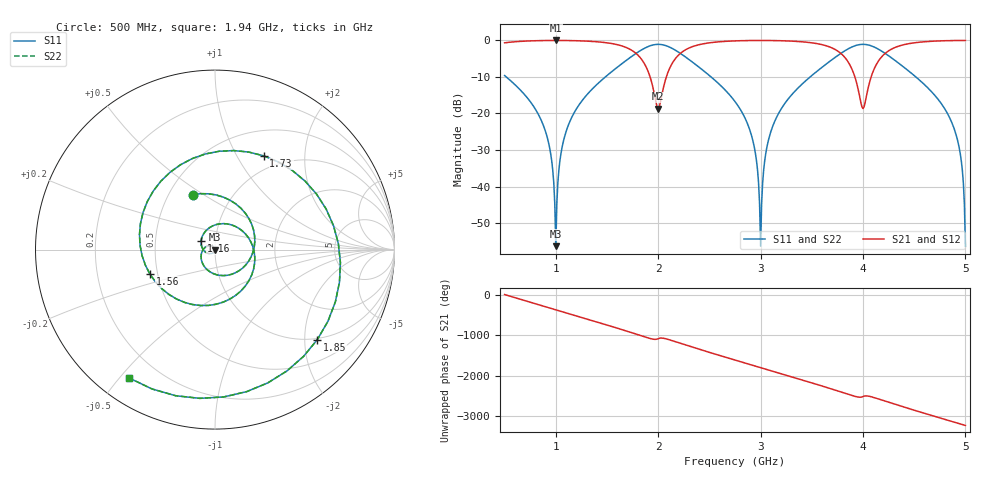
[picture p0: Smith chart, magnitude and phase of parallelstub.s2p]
! https://github.com/szoftveres
# Hz S RI R 50
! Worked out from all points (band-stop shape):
!   451 points, 500 MHz to 5 GHz, reference 50 ohm
!   highest |S21| = -0.01 dB at 1 GHz (marker M1); lowest = -18.7 dB at 2 GHz (marker M2)
!   |S21| within 3 dB of the highest: start of sweep to 1.758 GHz; 2.242 GHz to 3.758 GHz (1.517 GHz wide, 50.6 % of centre)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
!   lowest |S11| = -56.3 dB at 1 GHz (marker M3), VSWR 1.00, Z = 49.8 + j0 ohm
!   |S11| at or under -10 dB: 516.3 MHz to 1.484 GHz (967.3 MHz wide, 96.7 % of centre); 2.516 GHz to 3.484 GHz (967.3 MHz wide, 32.2 % of centre); 4.516 GHz to end of sweep
!   |S22| runs from -56.3 to -1.1 dB; largest |S21 - S12| = 0
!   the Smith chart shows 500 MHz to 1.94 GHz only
!   S11 on the Smith chart (normalised r, x): 500 MHz: 0.66, +0.45; 1.16 GHz: 0.85, +0.08; 1.56 GHz: 0.45, -0.15; 1.73 GHz: 0.81, +1.30; 1.85 GHz: 0.97, -2.30; 1.94 GHz: 0.10, -0.53
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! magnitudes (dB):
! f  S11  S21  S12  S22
! 500 MHz  -9.6  -0.7  -0.7  -9.6
! 870 MHz  -22.7  0.0  0.0  -22.7
! 1 GHz  -56.3  0.0  0.0  -56.3
! 1.16 GHz  -20.8  -0.1  -0.1  -20.8
! 1.25 GHz  -16.7  -0.1  -0.1  -16.7
! 1.56 GHz  -8.2  -0.9  -0.9  -8.2
! 1.73 GHz  -4.6  -2.5  -2.5  -4.6
! 1.85 GHz  -2.4  -5.7  -5.7  -2.4
! 1.94 GHz  -1.3  -11.9  -11.9  -1.3
! 2 GHz  -1.1  -18.7  -18.7  -1.1
! 2.22 GHz  -3.6  -3.5  -3.5  -3.6
! 2.75 GHz  -16.7  -0.1  -0.1  -16.7
! 2.92 GHz  -26.9  0.0  0.0  -26.9
! 3 GHz  -56.3  0.0  0.0  -56.3
! 3.13 GHz  -22.7  0.0  0.0  -22.7
! 3.5 GHz  -9.6  -0.7  -0.7  -9.6
! 3.83 GHz  -2.7  -4.9  -4.9  -2.7
! 4 GHz  -1.1  -18.7  -18.7  -1.1
! 4.25 GHz  -4.2  -2.9  -2.9  -4.2
! 4.85 GHz  -21.4  -0.1  -0.1  -21.4
! 4.95 GHz  -31.0  0.0  0.0  -31.0
! 5 GHz  -56.3  0.0  0.0  -56.3
